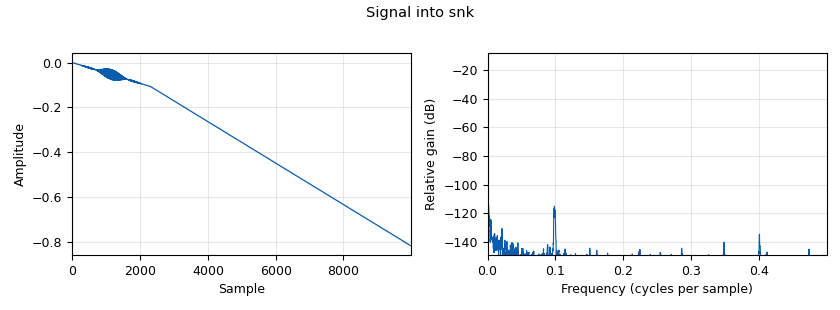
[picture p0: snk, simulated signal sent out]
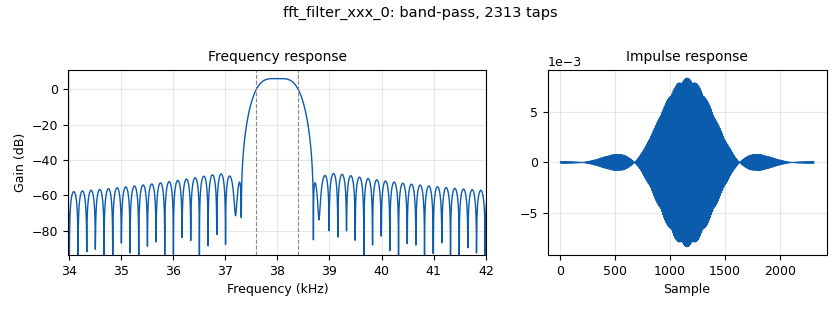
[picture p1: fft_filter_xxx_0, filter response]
options:
  parameters:
    author: josh
    generate_options: no_gui
    id: debug_wfm_pll
    output_language: python
    run_options: run
    title: Not titled yet
  states: {}

blocks:
- name: audio_decim
  id: variable
  parameters:
    value: (int)(demod_rate/48000)
  states: {}
- name: audio_filter_coeffs
  id: variable
  parameters:
    value: firdes.low_pass(1, demod_rate, 15000, 1500, window.WIN_HAMMING, 6.76)
  states: {}
- name: audio_rate
  id: variable
  parameters:
    value: demod_rate / audio_decim
  states: {}
- name: deemph_tau
  id: variable
  parameters:
    value: '75e-6'
  states: {}
- name: demod_rate
  id: variable
  parameters:
    value: (int)(samp_rate/rf_decim)
  states: {}
- name: deviation
  id: variable
  parameters:
    value: '75000'
  states: {}
- name: pilot_carrier_filter_coeffs
  id: variable
  parameters:
    value: firdes.complex_band_pass( 1.0, demod_rate, 18980, 19020, 1500, window.WIN_HAMMING, 6.76)
  states: {}
- name: rf_decim
  id: variable
  parameters:
    value: '2'
  states: {}
- name: samp_delay
  id: variable
  parameters:
    value: (len( pilot_carrier_filter_coeffs) - 1) // 2 + (len(stereo_carrier_filter_coeffs) - 1) // 2
  states: {}
- name: samp_rate
  id: variable
  parameters:
    value: '768000'
  states: {}
- name: stereo_carrier_filter_coeffs
  id: variable
  parameters:
    value: firdes.band_pass( -2.0, demod_rate, 37600, 38400, 400, window.WIN_HAMMING, 6.76)
  states: {}
- name: blocks_head_0
  id: blocks_head
  parameters:
    num_items: '10000'
    type: float
  states: {}
- name: blocks_vector_source_x_0
  id: blocks_vector_source_x
  parameters:
    repeat: 'True'
    type: float
    vector: list(range(10000))
  states: {}
- name: fft_filter_xxx_0
  id: fft_filter_xxx
  parameters:
    decim: '1'
    taps: stereo_carrier_filter_coeffs
    type: fff
  states: {}
- name: import_0
  id: import
  parameters:
    imports: from gnuradio.filter import firdes
  states: {}
- name: import_0_0
  id: import
  parameters:
    imports: from gnuradio.fft import window
  states: {}
- name: import_0_1
  id: import
  parameters:
    imports: import math as pmath
  states: {}
- name: snippet_0
  id: snippet
  parameters:
    code: |-
      import matplotlib.pyplot as plt
      import numpy as np

      plt.plot(np.real(self.snk.data()))
      plt.plot(np.imag(self.snk.data()))

      plt.figure()
      plt.plot(self.stereo_carrier_filter_coeffs)
      plt.show()
    section: main_after_stop
  states: {}
- name: snk
  id: blocks_vector_sink_x
  parameters:
    type: float
  states: {}

connections:
- [blocks_head_0, '0', snk, '0']
- [blocks_vector_source_x_0, '0', fft_filter_xxx_0, '0']
- [fft_filter_xxx_0, '0', blocks_head_0, '0']

metadata:
  file_format: 1
  grc_version: v3.11.0.0git-245-g09930fdc
